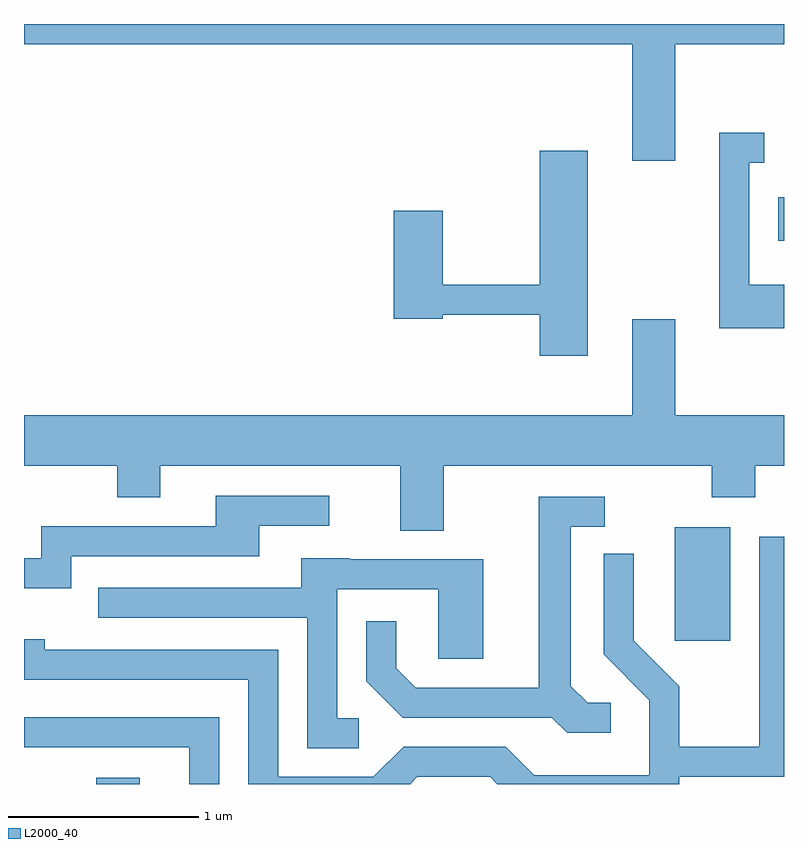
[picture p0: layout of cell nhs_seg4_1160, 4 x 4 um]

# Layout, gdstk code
import gdstk
lib = gdstk.Library(unit=1e-6, precision=1e-09)
def R(c, l, rs):  # rectangles x0, y0, x1, y1
    for r in rs: c.add(gdstk.rectangle(r[:2], r[2:], *l))
def P(c, l, *ps):  # polygons
    for p in ps: c.add(gdstk.Polygon(p, *l))
L2000_40 = (2000, 40)

nhs_seg4_1160 = lib.new_cell('nhs_seg4_1160')
R(nhs_seg4_1160, L2000_40, [(219.991,1261.982,220.219,1262.014), (223.036,1262.736,223.329,1263.334), (223.581,1264.841,223.611,1265.069)])
P(nhs_seg4_1160, L2000_40, [(223.039,1265.876),(223.611,1265.876),(223.611,1265.982),(219.611,1265.982),(219.611,1265.876),(222.811,1265.876),(222.811,1265.261),(223.039,1265.261)],
  [(223.611,1264.609),(223.429,1264.609),(223.429,1265.251),(223.508,1265.251),(223.508,1265.409),(223.271,1265.409),(223.271,1264.381),(223.611,1264.381)],
  [(222.579,1265.314),(222.326,1265.314),(222.326,1264.609),(221.814,1264.609),(221.814,1264.999),(221.556,1264.999),(221.556,1264.431),(221.814,1264.431),(221.814,1264.451),(222.326,1264.451),(222.326,1264.236),(222.579,1264.236)],
  [(221.819,1263.656),(223.231,1263.656),(223.231,1263.491),(223.459,1263.491),(223.459,1263.656),(223.611,1263.656),(223.611,1263.924),(223.039,1263.924),(223.039,1264.429),(222.811,1264.429),(222.811,1263.924),(219.611,1263.924),(219.611,1263.656),(220.101,1263.656),(220.101,1263.491),(220.329,1263.491),(220.329,1263.656),(221.591,1263.656),(221.591,1263.316),(221.819,1263.316)],
  [(219.859,1263.181),(220.849,1263.181),(220.849,1263.341),(221.218,1263.341),(221.218,1263.499),(220.621,1263.499),(220.621,1263.339),(219.701,1263.339),(219.701,1263.169),(219.611,1263.169),(219.611,1263.011),(219.859,1263.011)],
  [(222.698,1262.409),(222.577,1262.409),(222.489,1262.497),(222.489,1263.336),(222.668,1263.336),(222.668,1263.494),(222.321,1263.494),(222.321,1262.489),(221.672,1262.489),(221.569,1262.592),(221.569,1262.838),(221.411,1262.838),(221.411,1262.524),(221.604,1262.331),(222.389,1262.331),(222.469,1262.251),(222.698,1262.251)],
  [(221.682,1262.021),(222.064,1262.021),(222.103,1261.982),(223.059,1261.982),(223.059,1262.021),(223.611,1262.021),(223.611,1263.284),(223.481,1263.284),(223.481,1262.179),(223.059,1262.179),(223.059,1262.497),(222.819,1262.737),(222.819,1263.193),(222.661,1263.193),(222.661,1262.664),(222.901,1262.424),(222.901,1262.029),(222.297,1262.029),(222.147,1262.179),(221.609,1262.179),(221.449,1262.019),(220.949,1262.019),(220.949,1262.689),(219.719,1262.689),(219.719,1262.744),(219.611,1262.744),(219.611,1262.531),(220.791,1262.531),(220.791,1261.982),(221.643,1261.982)],
  [(221.373,1262.329),(221.259,1262.329),(221.259,1263.006),(221.791,1263.006),(221.791,1262.641),(222.029,1262.641),(222.029,1263.164),(221.325,1263.164),(221.325,1263.169),(221.071,1263.169),(221.071,1263.014),(220.003,1263.014),(220.003,1262.856),(221.101,1262.856),(221.101,1262.171),(221.373,1262.171)],
  [(220.639,1262.334),(219.611,1262.334),(219.611,1262.176),(220.481,1262.176),(220.481,1261.982),(220.639,1261.982)])

lib.write_gds('nhs_seg4_1160.gds')
